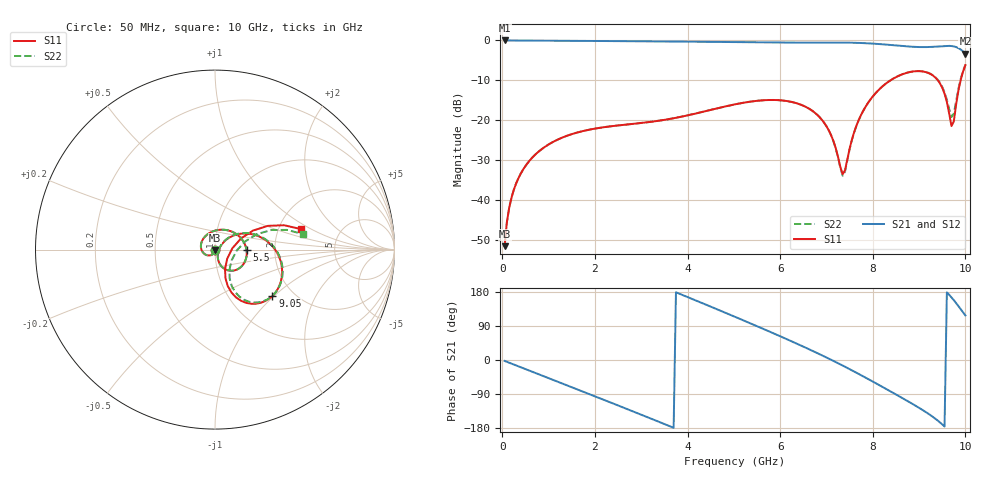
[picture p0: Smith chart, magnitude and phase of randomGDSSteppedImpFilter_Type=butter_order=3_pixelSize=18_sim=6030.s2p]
! freq	dB(S11)	phase(S11)	dB(S12)	phase(S12)
!  dB(S21)	phase(S21)	dB(S22)	phase(S22)
!S-par simulation data
#  GHz  S  DB  R 50
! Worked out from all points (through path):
!   200 points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, 50 MHz to 10 GHz, reference 50 ohm
!   highest |S21| = 0.00 dB at 50 MHz (marker M1); lowest = -3.3 dB at 10 GHz (marker M2)
!   group delay of S21, straight-line fit = 154 ps
!   lowest |S11| = -51.5 dB at 50 MHz (marker M3), VSWR 1.01, Z = 50 - j0.267 ohm
!   |S11| at or under -10 dB: start of sweep to 8.38 GHz; 9.406 GHz to 9.897 GHz (490.5 MHz wide, 5.08 % of centre)
!   |S22| runs from -51.5 to -6.1 dB; largest |S21 - S12| = 0
!   S11 on the Smith chart (normalised r, x): 50 MHz: 1.00, -0.01; 5.5 GHz: 1.43, -0.01; 9.05 GHz: 1.57, -0.98; 10 GHz: 2.65, +0.80
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0.05  -51.47 -90.4  -0.00 -2.4  -0.00 -2.4  -51.47 -90.4
0.1  -45.39 -93.2  -0.01 -4.9  -0.01 -4.9  -45.39 -93.3
0.2  -39.28 -98.6  -0.02 -9.6  -0.02 -9.6  -39.28 -98.6
0.5  -31.41 -114.3  -0.03 -24.0  -0.03 -24.0  -31.41 -114.3
1.15  -25.07 -146.6  -0.07 -55.0  -0.07 -55.0  -25.06 -146.8
1.75  -22.65 -175.7  -0.12 -83.8  -0.12 -83.8  -22.65 -175.9
2.5  -21.27 147.8  -0.17 -119.9  -0.17 -119.9  -21.27 147.5
3.4  -20.05 103.4  -0.24 -164.0  -0.24 -164.0  -20.05 103.2
4.2  -18.22 63.9  -0.33 156.1  -0.33 156.1  -18.22 63.9
5.05  -15.93 21.9  -0.44 112.7  -0.44 112.7  -15.93 22.0
5.5  -15.11 -0.6  -0.50 89.3  -0.50 89.3  -15.10 -0.4
6.1  -15.09 -30.6  -0.54 57.3  -0.54 57.3  -15.09 -30.4
6.7  -17.65 -60.0  -0.54 24.1  -0.54 24.1  -17.66 -59.9
7.1  -23.70 -72.9  -0.52 0.6  -0.52 0.6  -23.72 -73.2
7.35  -33.45 -23.4  -0.53 -14.7  -0.53 -14.7  -33.84 -23.4
7.75  -18.58 38.5  -0.64 -40.3  -0.64 -40.3  -18.60 39.7
8.35  -10.23 6.1  -1.10 -80.6  -1.10 -80.6  -10.23 7.1
9.05  -7.72 -38.8  -1.66 -130.0  -1.66 -130.0  -7.70 -37.2
9.45  -10.72 -66.2  -1.47 -164.6  -1.47 -164.6  -10.58 -62.5
9.6  -15.39 -69.9  -1.36 178.5  -1.36 178.5  -14.83 -63.2
9.7  -21.43 -37.0  -1.40 165.2  -1.40 165.2  -19.16 -32.8
10  -6.18 13.5  -3.35 117.6  -3.35 117.6  -6.08 10.0
